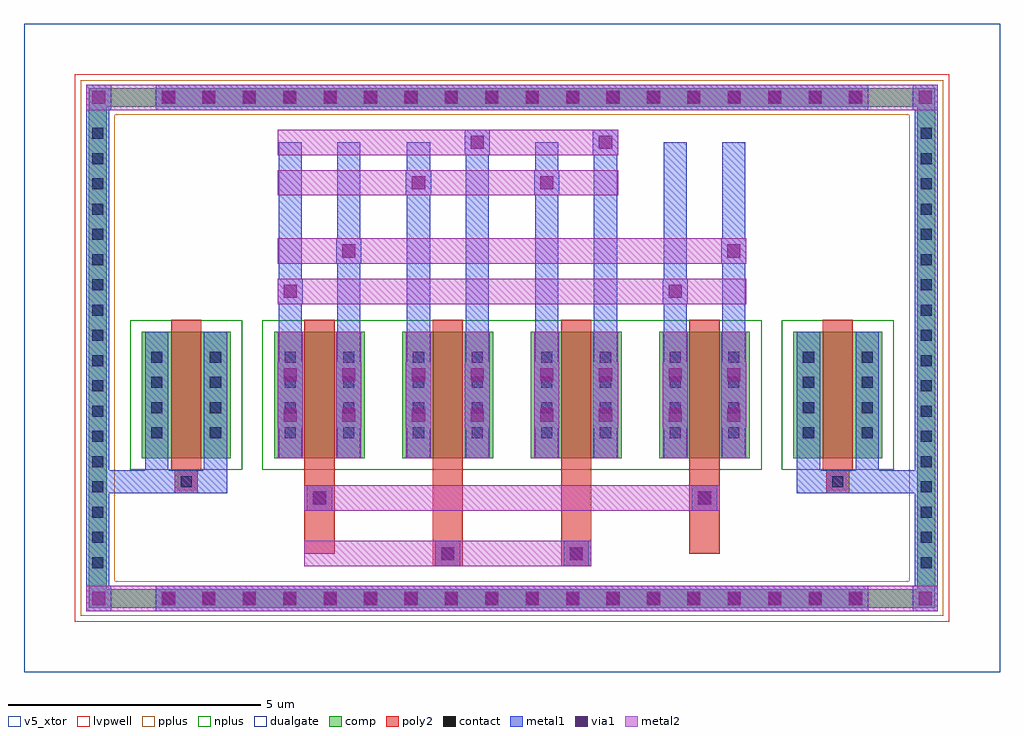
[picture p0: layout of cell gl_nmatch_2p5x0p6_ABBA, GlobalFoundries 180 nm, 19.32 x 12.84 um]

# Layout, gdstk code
import gdstk
lib = gdstk.Library(unit=1e-6, precision=1e-09)
def R(c, l, rs):  # rectangles x0, y0, x1, y1
    for r in rs: c.add(gdstk.rectangle(r[:2], r[2:], *l))
def A(c, l, x, y, w, h, nx, ny, dx, dy):  # array of equal rectangles
    R(c, l, [(x+i*dx, y+j*dy, x+i*dx+w, y+j*dy+h) for i in range(nx) for j in range(ny)])
def P(c, l, *ps):  # polygons
    for p in ps: c.add(gdstk.Polygon(p, *l))
comp = (22, 0)
poly2 = (30, 0)
pplus = (31, 0)
nplus = (32, 0)
contact = (33, 0)
metal1 = (34, 0)
via1 = (35, 0)
metal2 = (36, 0)
dualgate = (55, 0)
v5_xtor = (112, 1)
lvpwell = (204, 0)

gl_nmatch_2p5x0p6_abba = lib.new_cell('gl_nmatch_2p5x0p6_ABBA')
A(gl_nmatch_2p5x0p6_abba, comp, -6.98, -5.14, 0.36, 0.36, 18, 2, 0.8, 9.92)
A(gl_nmatch_2p5x0p6_abba, comp, -8.38, -4.43, 0.36, 0.36, 1, 18, 0, 0.5)
A(gl_nmatch_2p5x0p6_abba, comp, 8.02, -4.43, 0.36, 0.36, 1, 18, 0, 0.5)
A(gl_nmatch_2p5x0p6_abba, comp, -4.71, -2.18, 1.8, 2.5, 4, 1, 2.54, 0)
R(gl_nmatch_2p5x0p6_abba, comp, [(-6.98,-5.14,6.98,-4.78), (-8.38,-4.43,-8.02,4.43), (8.02,-4.43,8.38,4.43), (-7.33,-2.18,-5.57,0.32), (5.57,-2.18,7.33,0.32), (-6.98,4.78,6.98,5.14)])
P(gl_nmatch_2p5x0p6_abba, comp, [(-8.38,-5.14),(-8.38,-4.78),(-8.02,-4.78),(8.02,-4.78),(8.02,4.78),(-8.02,4.78),(-8.02,-4.78),(-8.38,-4.78),(-8.38,5.14),(8.38,5.14),(8.38,-5.14)])
A(gl_nmatch_2p5x0p6_abba, poly2, -4.11, -2.42, 0.6, 2.98, 4, 1, 2.54, 0)
R(gl_nmatch_2p5x0p6_abba, poly2, [(-1.57,-4.32,-0.97,-3.82), (0.97,-4.32,1.57,-3.82), (-1.45,-4.25,-1.09,-3.89), (1.09,-4.25,1.45,-3.89), (-4.11,-4.07,-3.51,-2.42), (3.51,-4.07,4.11,-2.42), (-1.57,-3.82,-0.97,-2.42), (0.97,-3.82,1.57,-2.42), (-4.11,-3.22,-3.51,-2.72), (3.51,-3.22,4.11,-2.72), (-3.99,-3.15,-3.63,-2.79), (3.63,-3.15,3.99,-2.79), (-6.68,-2.88,-6.22,-2.42), (6.22,-2.88,6.68,-2.42), (-6.63,-2.83,-6.27,-2.47), (6.27,-2.83,6.63,-2.47), (-4.11,-2.72,-3.51,-2.42), (3.51,-2.72,4.11,-2.42), (-6.75,-2.42,-6.15,0.56), (6.15,-2.42,6.75,0.56)])
P(gl_nmatch_2p5x0p6_abba, pplus, [(-8.54,-5.3),(-8.54,-4.62),(-7.86,-4.62),(7.86,-4.62),(7.86,4.62),(-7.86,4.62),(-7.86,-4.62),(-8.54,-4.62),(-8.54,5.3),(8.54,5.3),(8.54,-5.3)])
A(gl_nmatch_2p5x0p6_abba, nplus, -4.94, -2.41, 2.26, 2.96, 4, 1, 2.54, 0)
R(gl_nmatch_2p5x0p6_abba, nplus, [(-7.56,-2.41,-5.34,0.55), (-4.94,-2.41,4.94,0.55), (5.34,-2.41,7.56,0.55)])
A(gl_nmatch_2p5x0p6_abba, contact, -6.91, -5.07, 0.22, 0.22, 18, 2, 0.8, 9.92)
A(gl_nmatch_2p5x0p6_abba, contact, -8.31, -4.36, 0.22, 0.22, 1, 18, 0, 0.5)
A(gl_nmatch_2p5x0p6_abba, contact, 8.09, -4.36, 0.22, 0.22, 1, 18, 0, 0.5)
A(gl_nmatch_2p5x0p6_abba, contact, -7.14, -1.79, 0.22, 0.22, 1, 4, 0, 0.5)
A(gl_nmatch_2p5x0p6_abba, contact, -5.98, -1.79, 0.22, 0.22, 1, 4, 0, 0.5)
A(gl_nmatch_2p5x0p6_abba, contact, -4.5, -1.79, 0.22, 0.22, 1, 4, 0, 0.5)
A(gl_nmatch_2p5x0p6_abba, contact, -3.34, -1.79, 0.22, 0.22, 1, 4, 0, 0.5)
A(gl_nmatch_2p5x0p6_abba, contact, -1.96, -1.79, 0.22, 0.22, 1, 4, 0, 0.5)
A(gl_nmatch_2p5x0p6_abba, contact, -0.8, -1.79, 0.22, 0.22, 1, 4, 0, 0.5)
A(gl_nmatch_2p5x0p6_abba, contact, 0.58, -1.79, 0.22, 0.22, 1, 4, 0, 0.5)
A(gl_nmatch_2p5x0p6_abba, contact, 1.74, -1.79, 0.22, 0.22, 1, 4, 0, 0.5)
A(gl_nmatch_2p5x0p6_abba, contact, 3.12, -1.79, 0.22, 0.22, 1, 4, 0, 0.5)
A(gl_nmatch_2p5x0p6_abba, contact, 4.28, -1.79, 0.22, 0.22, 1, 4, 0, 0.5)
A(gl_nmatch_2p5x0p6_abba, contact, 5.76, -1.79, 0.22, 0.22, 1, 4, 0, 0.5)
A(gl_nmatch_2p5x0p6_abba, contact, 6.92, -1.79, 0.22, 0.22, 1, 4, 0, 0.5)
R(gl_nmatch_2p5x0p6_abba, contact, [(-1.38,-4.18,-1.16,-3.96), (1.16,-4.18,1.38,-3.96), (-3.92,-3.08,-3.7,-2.86), (3.7,-3.08,3.92,-2.86), (-6.56,-2.76,-6.34,-2.54), (6.34,-2.76,6.56,-2.54)])
A(gl_nmatch_2p5x0p6_abba, metal1, -7.05, -5.21, 0.5, 0.5, 18, 2, 0.8, 9.92)
A(gl_nmatch_2p5x0p6_abba, metal1, -8.43, -4.48, 0.46, 0.46, 1, 18, 0, 0.5)
A(gl_nmatch_2p5x0p6_abba, metal1, 7.97, -4.48, 0.46, 0.46, 1, 18, 0, 0.5)
A(gl_nmatch_2p5x0p6_abba, metal1, -7.26, -1.91, 0.46, 0.46, 1, 4, 0, 0.5)
A(gl_nmatch_2p5x0p6_abba, metal1, -6.1, -1.91, 0.46, 0.46, 1, 4, 0, 0.5)
A(gl_nmatch_2p5x0p6_abba, metal1, -4.62, -1.91, 0.46, 0.46, 1, 4, 0, 0.5)
A(gl_nmatch_2p5x0p6_abba, metal1, -3.46, -1.91, 0.46, 0.46, 1, 4, 0, 0.5)
A(gl_nmatch_2p5x0p6_abba, metal1, -2.08, -1.91, 0.46, 0.46, 1, 4, 0, 0.5)
A(gl_nmatch_2p5x0p6_abba, metal1, -0.92, -1.91, 0.46, 0.46, 1, 4, 0, 0.5)
A(gl_nmatch_2p5x0p6_abba, metal1, 0.46, -1.91, 0.46, 0.46, 1, 4, 0, 0.5)
A(gl_nmatch_2p5x0p6_abba, metal1, 1.62, -1.91, 0.46, 0.46, 1, 4, 0, 0.5)
A(gl_nmatch_2p5x0p6_abba, metal1, 3, -1.91, 0.46, 0.46, 1, 4, 0, 0.5)
A(gl_nmatch_2p5x0p6_abba, metal1, 4.16, -1.91, 0.46, 0.46, 1, 4, 0, 0.5)
A(gl_nmatch_2p5x0p6_abba, metal1, 5.64, -1.91, 0.46, 0.46, 1, 4, 0, 0.5)
A(gl_nmatch_2p5x0p6_abba, metal1, 6.8, -1.91, 0.46, 0.46, 1, 4, 0, 0.5)
R(gl_nmatch_2p5x0p6_abba, metal1, [(-8.43,-5.21,-7.93,-4.71), (-8.43,-5.21,-7.93,-4.71), (-8.43,-5.21,-7.97,-4.78), (-7.05,-5.21,7.05,-4.71), (7.93,-5.21,8.43,-4.71), (7.93,-5.21,8.43,-4.71), (7.97,-5.21,8.43,-4.78), (-8.43,-4.78,-7.97,4.78), (7.97,-4.78,8.43,4.78), (-1.52,-4.32,-1.02,-3.82), (1.02,-4.32,1.52,-3.82), (-4.06,-3.22,-3.56,-2.72), (3.56,-3.22,4.06,-2.72), (-8.43,-2.88,-6.68,-2.42), (-7.26,-2.88,-6.68,-2.42), (-7.26,-2.88,-6.8,-2.18), (-6.68,-2.88,-6.22,-2.42), (-6.22,-2.88,-5.64,-2.42), (-6.1,-2.88,-5.64,-2.18), (5.64,-2.88,6.22,-2.42), (5.64,-2.88,6.1,-2.18), (6.22,-2.88,6.68,-2.42), (6.68,-2.88,7.26,-2.42), (6.68,-2.88,8.43,-2.42), (6.8,-2.88,7.26,-2.18), (-7.26,-2.18,-6.8,0.32), (-6.1,-2.18,-5.64,0.32), (-4.62,-2.18,-4.16,0.32), (-3.46,-2.18,-3,0.32), (-2.08,-2.18,-1.62,0.32), (-0.92,-2.18,-0.46,0.32), (0.46,-2.18,0.92,0.32), (1.62,-2.18,2.08,0.32), (3,-2.18,3.46,0.32), (4.16,-2.18,4.62,0.32), (5.64,-2.18,6.1,0.32), (6.8,-2.18,7.26,0.32), (-4.64,-1.58,-4.14,-1.08), (-4.64,-1.58,-4.14,-0.28), (-3.48,-1.58,-2.98,-1.08), (-3.48,-1.58,-2.98,-0.28), (-2.1,-1.58,-1.6,-1.08), (-2.1,-1.58,-1.6,-0.28), (-0.94,-1.58,-0.44,-1.08), (-0.94,-1.58,-0.44,-0.28), (0.44,-1.58,0.94,-1.08), (0.44,-1.58,0.94,-0.28), (1.6,-1.58,2.1,-1.08), (1.6,-1.58,2.1,-0.28), (2.98,-1.58,3.48,-1.08), (2.98,-1.58,3.48,-0.28), (4.14,-1.58,4.64,-1.08), (4.14,-1.58,4.64,-0.28), (-4.64,-0.78,-4.14,-0.28), (-3.48,-0.78,-2.98,-0.28), (-2.1,-0.78,-1.6,-0.28), (-0.94,-0.78,-0.44,-0.28), (0.44,-0.78,0.94,-0.28), (1.6,-0.78,2.1,-0.28), (2.98,-0.78,3.48,-0.28), (4.14,-0.78,4.64,-0.28), (-4.62,0.32,-4.16,1.37), (-4.62,0.32,-4.16,4.07), (-3.46,0.32,-3,2.17), (-3.46,0.32,-3,4.07), (-2.08,0.32,-1.62,3.52), (-2.08,0.32,-1.62,4.07), (-0.92,0.32,-0.46,4.07), (-0.92,0.32,-0.46,4.32), (0.46,0.32,0.92,3.52), (0.46,0.32,0.92,4.07), (1.62,0.32,2.08,4.07), (1.62,0.32,2.08,4.32), (3,0.32,3.46,1.37), (3,0.32,3.46,4.07), (4.16,0.32,4.62,2.17), (4.16,0.32,4.62,4.07), (-4.64,0.87,-4.14,1.37), (2.98,0.87,3.48,1.37), (-3.48,1.67,-2.98,2.17), (4.14,1.67,4.64,2.17), (-2.1,3.02,-1.6,3.52), (0.44,3.02,0.94,3.52), (-0.94,3.82,-0.44,4.32), (1.6,3.82,2.1,4.32), (-8.43,4.71,-7.93,5.21), (-8.43,4.71,-7.93,5.21), (-7.05,4.71,7.05,5.21), (7.93,4.71,8.43,5.21), (7.93,4.71,8.43,5.21), (-8.43,4.78,-7.97,5.21), (7.97,4.78,8.43,5.21)])
A(gl_nmatch_2p5x0p6_abba, via1, -6.93, -5.09, 0.26, 0.26, 18, 2, 0.8, 9.92)
R(gl_nmatch_2p5x0p6_abba, via1, [(-8.31,-5.09,-8.05,-4.83), (8.05,-5.09,8.31,-4.83), (-1.4,-4.2,-1.14,-3.94), (1.14,-4.2,1.4,-3.94), (-3.94,-3.1,-3.68,-2.84), (3.68,-3.1,3.94,-2.84), (-4.52,-1.46,-4.26,-1.2), (-3.36,-1.46,-3.1,-1.2), (-1.98,-1.46,-1.72,-1.2), (-0.82,-1.46,-0.56,-1.2), (0.56,-1.46,0.82,-1.2), (1.72,-1.46,1.98,-1.2), (3.1,-1.46,3.36,-1.2), (4.26,-1.46,4.52,-1.2), (-4.52,-0.66,-4.26,-0.4), (-3.36,-0.66,-3.1,-0.4), (-1.98,-0.66,-1.72,-0.4), (-0.82,-0.66,-0.56,-0.4), (0.56,-0.66,0.82,-0.4), (1.72,-0.66,1.98,-0.4), (3.1,-0.66,3.36,-0.4), (4.26,-0.66,4.52,-0.4), (-4.52,0.99,-4.26,1.25), (3.1,0.99,3.36,1.25), (-3.36,1.79,-3.1,2.05), (4.26,1.79,4.52,2.05), (-1.98,3.14,-1.72,3.4), (0.56,3.14,0.82,3.4), (-0.82,3.94,-0.56,4.2), (1.72,3.94,1.98,4.2), (-8.31,4.83,-8.05,5.09), (8.05,4.83,8.31,5.09)])
A(gl_nmatch_2p5x0p6_abba, metal2, -7.05, -5.21, 0.5, 0.5, 18, 2, 0.8, 9.92)
R(gl_nmatch_2p5x0p6_abba, metal2, [(-8.43,-5.21,-7.93,-4.71), (-8.43,-5.21,-7.93,-4.71), (-8.43,-5.21,-8.02,-4.71), (-8.02,-5.21,8.02,-4.71), (7.93,-5.21,8.43,-4.71), (7.93,-5.21,8.43,-4.71), (8.02,-5.21,8.43,-4.71), (-4.11,-4.32,1.57,-3.82), (-1.57,-4.32,-0.97,-3.82), (-1.52,-4.32,-1.02,-3.82), (0.97,-4.32,1.57,-3.82), (1.02,-4.32,1.52,-3.82), (-4.11,-3.22,4.11,-2.72), (-4.11,-3.22,-3.51,-2.72), (-4.06,-3.22,-3.56,-2.72), (3.51,-3.22,4.11,-2.72), (3.56,-3.22,4.06,-2.72), (-4.64,-2.18,-4.14,0.32), (-3.48,-2.18,-2.98,0.32), (-2.1,-2.18,-1.6,0.32), (-0.94,-2.18,-0.44,0.32), (0.44,-2.18,0.94,0.32), (1.6,-2.18,2.1,0.32), (2.98,-2.18,3.48,0.32), (4.14,-2.18,4.64,0.32), (-4.64,-1.58,-4.14,-1.08), (-3.48,-1.58,-2.98,-1.08), (-2.1,-1.58,-1.6,-1.08), (-0.94,-1.58,-0.44,-1.08), (0.44,-1.58,0.94,-1.08), (1.6,-1.58,2.1,-1.08), (2.98,-1.58,3.48,-1.08), (4.14,-1.58,4.64,-1.08), (-4.64,-0.78,-4.14,-0.28), (-3.48,-0.78,-2.98,-0.28), (-2.1,-0.78,-1.6,-0.28), (-0.94,-0.78,-0.44,-0.28), (0.44,-0.78,0.94,-0.28), (1.6,-0.78,2.1,-0.28), (2.98,-0.78,3.48,-0.28), (4.14,-0.78,4.64,-0.28), (-4.64,0.87,4.64,1.37), (-4.64,0.87,-2.98,1.37), (-4.64,0.87,-4.14,1.37), (2.98,0.87,4.64,1.37), (2.98,0.87,3.48,1.37), (-4.64,1.67,4.64,2.17), (-4.64,1.67,-2.98,2.17), (-3.48,1.67,-2.98,2.17), (2.98,1.67,4.64,2.17), (4.14,1.67,4.64,2.17), (-4.64,3.02,2.1,3.52), (-2.1,3.02,-0.44,3.52), (-2.1,3.02,-1.6,3.52), (0.44,3.02,2.1,3.52), (0.44,3.02,0.94,3.52), (-4.64,3.82,2.1,4.32), (-2.1,3.82,-0.44,4.32), (-0.94,3.82,-0.44,4.32), (0.44,3.82,2.1,4.32), (1.6,3.82,2.1,4.32), (-8.43,4.71,-7.93,5.21), (-8.43,4.71,-7.93,5.21), (-8.43,4.71,-8.02,5.21), (-8.02,4.71,8.02,5.21), (7.93,4.71,8.43,5.21), (7.93,4.71,8.43,5.21), (8.02,4.71,8.43,5.21)])
R(gl_nmatch_2p5x0p6_abba, dualgate, [(-9.66,-6.42,9.66,6.42)])
R(gl_nmatch_2p5x0p6_abba, v5_xtor, [(-9.66,-6.42,9.66,6.42)])
R(gl_nmatch_2p5x0p6_abba, lvpwell, [(-8.66,-5.42,8.66,5.42)])

lib.write_gds('gl_nmatch_2p5x0p6_ABBA.gds')
